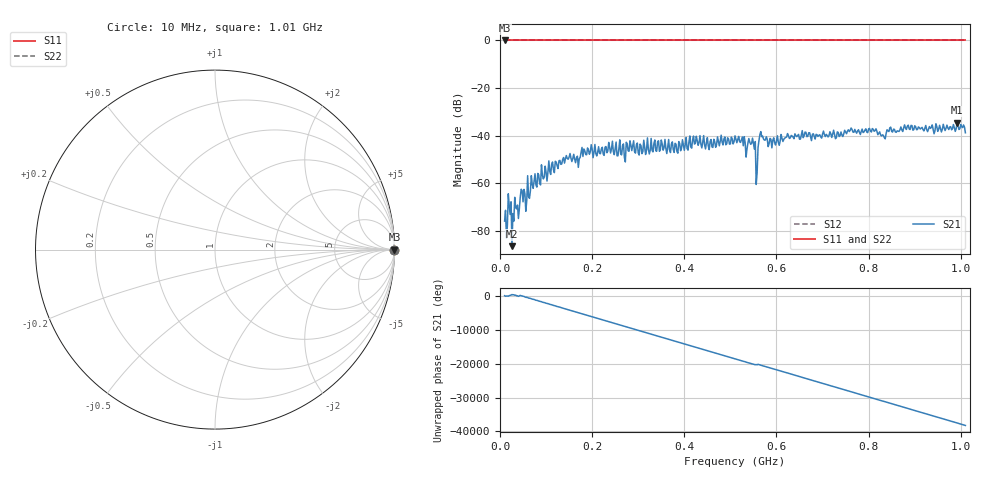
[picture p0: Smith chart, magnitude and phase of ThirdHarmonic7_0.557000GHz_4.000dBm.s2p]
! 8/17/2025 5:00:19 PM
! C:\ANRITSUVNA\TEMP\TEMP.S2P
! CHANNEL.1
! TR.MEASUREMENT
! RAW.DATA
! RF.CORRECTION.OFF
! AVERAGING.OFF
! IF.BANDWIDTH: 5KHZ
! SWEEPTYPE:  FREQ.SWEEP(Linear)
! Reference Plane Port Info
! PORT:  PORT1  PORT2
! DISTANCE:  0  m  0  m
! TIME:  0  s  0  s
! PHASE.OFFSET:  0  deg.  0  deg.
! LOSS:  0  dB  0  dB
! REF.LOSS:  0  dB  0  dB
! REF.FREQ:  0  Hz  0  Hz
! Power Info
! POWER:  -20  dBm  -20  dBm
! EFF.POWER:  -20  dBm  -20  dBm
! SOURCE.ATTEN:  0  dB  0  dB
! TEST.ATTEN:  0  dB  0  dB
# GHZ S RI R 50.0
! FREQ.GHZ  S11RE  S11IM  S21RE  S21IM  S12RE  S12IM  S22RE  S22IM
!; PortSelection: Port_12
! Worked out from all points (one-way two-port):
!   501 points, 10 MHz to 1.01 GHz, reference 50 ohm
!   highest |S21| = -34.64 dB at 992 MHz (marker M1); lowest = -86.5 dB at 26 MHz (marker M2)
!   lowest |S11| = 0.0 dB at 10 MHz (marker M3)
!   |S11| at or under -10 dB: nowhere
!   |S22| runs from 0.0 to 0.0 dB; largest |S21 - S12| = 1
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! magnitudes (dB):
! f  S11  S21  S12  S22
! 10 MHz  0.0  -76.0  0.0  0.0
! 20 MHz  0.0  -69.4  0.0  0.0
! 26 MHz  0.0  -86.5  0.0  0.0
! 38 MHz  0.0  -69.2  0.0  0.0
! 48 MHz  0.0  -63.2  0.0  0.0
! 60 MHz  0.0  -56.9  0.0  0.0
! 72 MHz  0.0  -62.2  0.0  0.0
! 168 MHz  0.0  -48.7  0.0  0.0
! 178 MHz  0.0  -45.0  0.0  0.0
! 344 MHz  0.0  -42.2  0.0  0.0
! 510 MHz  0.0  -40.1  0.0  0.0
! 550 MHz  0.0  -43.2  0.0  0.0
! 556 MHz  0.0  -60.6  0.0  0.0
! 560 MHz  0.0  -45.0  0.0  0.0
! 566 MHz  0.0  -38.3  0.0  0.0
! 586 MHz  0.0  -41.2  0.0  0.0
! 678 MHz  0.0  -39.5  0.0  0.0
! 812 MHz  0.0  -38.2  0.0  0.0
! 832 MHz  0.0  -39.9  0.0  0.0
! 844 MHz  0.0  -38.3  0.0  0.0
! 992 MHz  0.0  -34.6  0.0  0.0
! 1.01 GHz  0.0  -38.8  0.0  0.0
